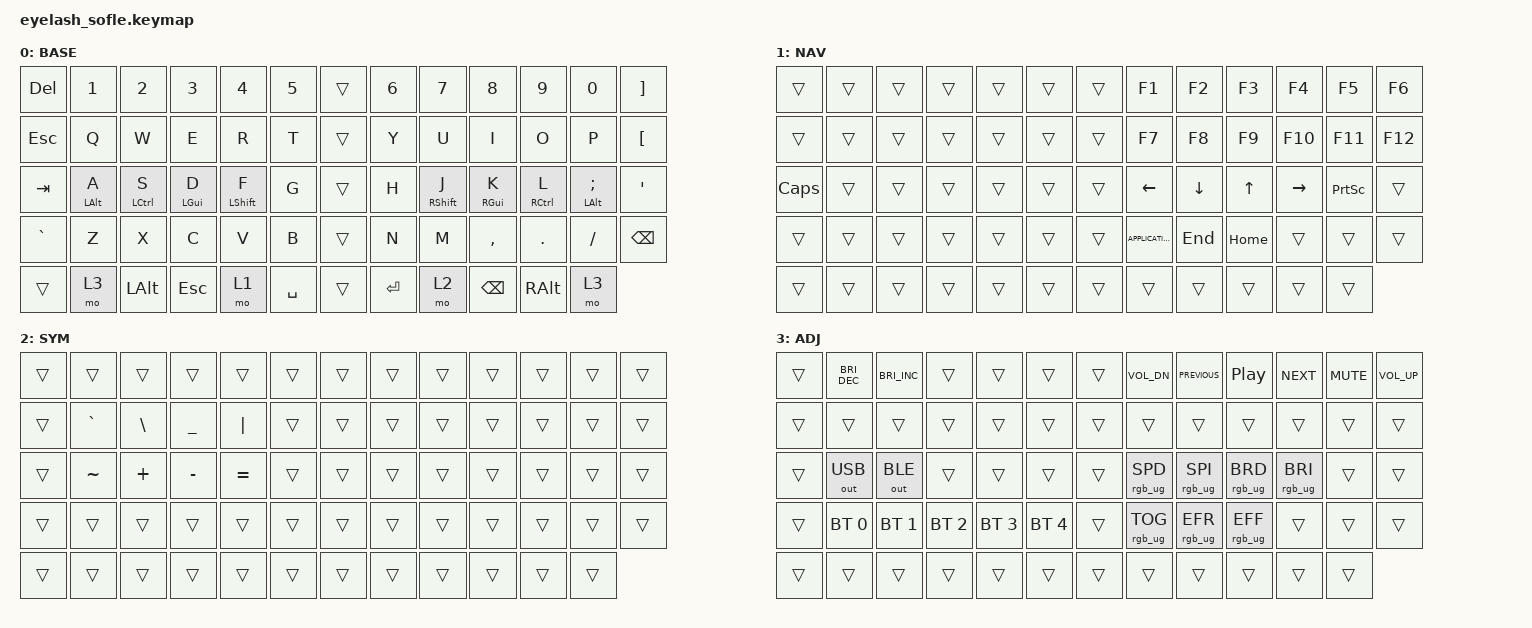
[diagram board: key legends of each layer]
#define ZMK_POINTING_DEFAULT_MOVE_VAL 1200  // 600
#define ZMK_POINTING_DEFAULT_SCRL_VAL 25   // 10

#include <input/processors.dtsi>
#include <zephyr/dt-bindings/input/input-event-codes.h>
#include <behaviors.dtsi>
#include <dt-bindings/zmk/bt.h>
#include <dt-bindings/zmk/keys.h>
#include <dt-bindings/zmk/outputs.h>
#include <dt-bindings/zmk/rgb.h>

&mmv_input_listener { input-processors = <&zip_xy_scaler 2 1>; };

&msc_input_listener { input-processors = <&zip_scroll_scaler 2 1>; };

&msc {
    acceleration-exponent = <1>;      // 0
    time-to-max-speed-ms = <100>;       // 300
    delay-ms = <0>;                   // 0
};

&mmv {
    time-to-max-speed-ms = <500>;
    acceleration-exponent = <1>;
    trigger-period-ms = <16>;
};

/ {
    /*scroll_encoder: scroll_encoder {
        compatible = "zmk,behavior-sensor-rotate";
        #sensor-binding-cells = <0>;
        bindings = <&msc SCRL_DOWN>, <&msc SCRL_UP>;
        tap-ms = <100>;
    };*/

    behaviors {
        hml: hml {
            compatible = "zmk,behavior-hold-tap";
            label = "HML";
            bindings = <&kp>, <&kp>;

            #binding-cells = <2>;
            tapping-term-ms = <280>;
            flavor = "balanced";
            hold-trigger-key-positions = <7 8 9 10 11 12 25 24 23 22 21 20 33 34 35 36 37 38 51 50 49 48 47 46>;
            require-prior-idle-ms = <150>;
            quick-tap-ms = <175>;
            hold-trigger-on-release;
        };

        hmr: hmr {
            compatible = "zmk,behavior-hold-tap";
            label = "HMR";
            bindings = <&kp>, <&kp>;

            #binding-cells = <2>;
            tapping-term-ms = <280>;
            flavor = "balanced";
            hold-trigger-key-positions = <0 1 2 3 4 5 18 17 16 15 14 13 31 30 29 28 27 26 44 43 42 41 40 39>;
            quick-tap-ms = <175>;
            require-prior-idle-ms = <150>;
            hold-trigger-on-release;
        };
    };

    keymap {
        compatible = "zmk,keymap";

        base {
            bindings = <
&kp DEL    &kp N1           &kp N2               &kp N3           &kp N4        &kp N5       &trans  &kp N6     &kp N7              &kp N8         &kp N9                &kp N0                   &kp RIGHT_BRACKET
&kp ESC    &kp Q            &kp W                &kp E            &kp R         &kp T        &trans  &kp Y      &kp U               &kp I          &kp O                 &kp P                    &kp LEFT_BRACKET
&kp TAB    &hml LEFT_ALT A  &hml LEFT_CONTROL S  &hml LEFT_GUI D  &hml LSHFT F  &kp G        &trans  &kp H      &hmr RIGHT_SHIFT J  &hmr RGUI K    &hmr RIGHT_CONTROL L  &hmr LEFT_ALT SEMICOLON  &kp APOS
&kp GRAVE  &kp Z            &kp X                &kp C            &kp V         &kp B        &trans  &kp N      &kp M               &kp COMMA      &kp DOT               &kp SLASH                &kp BACKSPACE
&trans     &mo 3            &kp LEFT_ALT         &kp ESCAPE       &mo 1         &kp SPACE    &trans  &kp ENTER  &mo 2               &kp BACKSPACE  &kp RIGHT_ALT         &mo 3
            >;

            //sensor-bindings = <&inc_dec_kp C_VOLUME_UP C_VOL_DN>;

            display-name = "BASE";
        };

        navigation {
            bindings = <
&trans        &trans  &trans  &trans  &trans  &trans    &trans  &kp F1             &kp F2    &kp F3        &kp F4           &kp F5           &kp F6
&trans        &trans  &trans  &trans  &trans  &trans    &trans  &kp F7             &kp F8    &kp F9        &kp F10          &kp F11          &kp F12
&kp CAPSLOCK  &trans  &trans  &trans  &trans  &trans    &trans  &kp LEFT_ARROW     &kp DOWN  &kp UP_ARROW  &kp RIGHT_ARROW  &kp PRINTSCREEN  &trans
&trans        &trans  &trans  &trans  &trans  &trans    &trans  &kp K_APPLICATION  &kp END   &kp HOME      &trans           &trans           &trans
&trans        &trans  &trans  &trans  &trans  &trans    &trans  &trans             &trans    &trans        &trans           &trans
            >;

            display-name = "NAV";

            //sensor-bindings = <&scroll_encoder>;
        };

        symbols {
            bindings = <
&trans  &trans     &trans         &trans     &trans     &trans    &trans  &trans  &trans  &trans  &trans  &trans  &trans
&trans  &kp GRAVE  &kp BACKSLASH  &kp UNDER  &kp PIPE   &trans    &trans  &trans  &trans  &trans  &trans  &trans  &trans
&trans  &kp TILDE  &kp PLUS       &kp MINUS  &kp EQUAL  &trans    &trans  &trans  &trans  &trans  &trans  &trans  &trans
&trans  &trans     &trans         &trans     &trans     &trans    &trans  &trans  &trans  &trans  &trans  &trans  &trans
&trans  &trans     &trans         &trans     &trans     &trans    &trans  &trans  &trans  &trans  &trans  &trans
            >;

            display-name = "SYM";

            //sensor-bindings = <&scroll_encoder>;
        };

        adjust {
            display-name = "ADJ";
            bindings = <
&trans  &kp C_BRIGHTNESS_DEC  &kp C_BRIGHTNESS_INC  &trans        &trans        &trans          &trans  &kp C_VOL_DN     &kp C_PREVIOUS   &kp C_PLAY_PAUSE  &kp C_NEXT       &kp C_MUTE  &kp C_VOLUME_UP
&trans  &trans                &trans                &trans        &trans        &trans          &trans  &trans           &trans           &trans            &trans           &trans      &trans
&trans  &out OUT_USB          &out OUT_BLE          &trans        &trans        &trans          &trans  &rgb_ug RGB_SPD  &rgb_ug RGB_SPI  &rgb_ug RGB_BRD   &rgb_ug RGB_BRI  &trans      &trans
&trans  &bt BT_SEL 0          &bt BT_SEL 1          &bt BT_SEL 2  &bt BT_SEL 3  &bt BT_SEL 4    &trans  &rgb_ug RGB_TOG  &rgb_ug RGB_EFR  &rgb_ug RGB_EFF   &trans           &trans      &trans
&trans  &trans                &trans                &trans        &trans        &trans          &trans  &trans           &trans           &trans            &trans           &trans
            >;
        };
    };

    conditional_layers { compatible = "zmk,conditional-layers"; };
};
